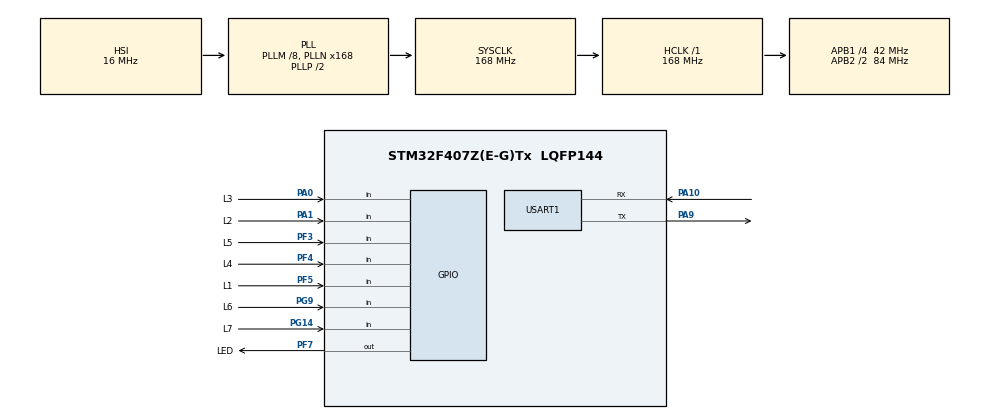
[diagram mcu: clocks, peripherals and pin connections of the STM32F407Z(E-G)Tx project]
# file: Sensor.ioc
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Mcu.Family=STM32F4
Mcu.Name=STM32F407Z(E-G)Tx
Mcu.Package=LQFP144
NVIC.PriorityGroup=NVIC_PRIORITYGROUP_4
NVIC.USART1_IRQn=true\:0\:0\:false\:false\:true\:true\:true\:true
PA0-WKUP.GPIO_Label=L3
PA0-WKUP.Signal=GPIO_Input
PA1.GPIO_Label=L2
PA1.Signal=GPIO_Input
PA10.Mode=Asynchronous
PA10.Signal=USART1_RX
PA13.Mode=Serial_Wire
PA13.Signal=SYS_JTMS-SWDIO
PA14.Mode=Serial_Wire
PA14.Signal=SYS_JTCK-SWCLK
PA9.Mode=Asynchronous
PA9.Signal=USART1_TX
PF3.GPIO_Label=L5
PF3.Signal=GPIO_Input
PF4.GPIO_Label=L4
PF4.Signal=GPIO_Input
PF5.GPIO_Label=L1
PF5.Signal=GPIO_Input
PF7.GPIO_Label=LED
PF7.GPIO_Speed=GPIO_SPEED_FREQ_HIGH
PF7.PinState=GPIO_PIN_RESET
PF7.Signal=GPIO_Output
PG14.GPIO_Label=L7
PG14.Signal=GPIO_Input
PG9.GPIO_Label=L6
PG9.Signal=GPIO_Input
ProjectManager.HeapSize=0x200
ProjectManager.StackSize=0x400
ProjectManager.TargetToolchain=MDK-ARM V5.32
RCC.48MHZClocksFreq_Value=84000000
RCC.AHBFreq_Value=168000000
RCC.APB1CLKDivider=RCC_HCLK_DIV4
RCC.APB1Freq_Value=42000000
RCC.APB1TimFreq_Value=84000000
RCC.APB2CLKDivider=RCC_HCLK_DIV2
RCC.APB2Freq_Value=84000000
RCC.APB2TimFreq_Value=168000000
RCC.CortexFreq_Value=168000000
RCC.HCLKFreq_Value=168000000
RCC.HSE_VALUE=25000000
RCC.HSI_VALUE=16000000
RCC.LSE_VALUE=32768
RCC.PLLM=8
RCC.PLLN=168
RCC.SYSCLKFreq_VALUE=168000000
RCC.SYSCLKSource=RCC_SYSCLKSOURCE_PLLCLK
RCC.VCOOutputFreq_Value=336000000
USART1.VirtualMode=VM_ASYNC
board=custom

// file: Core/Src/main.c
/* USER CODE BEGIN Header */
/**
  ******************************************************************************
  * @file           : main.c
  * @brief          : Main program body
  ******************************************************************************
  * @attention
  *
  * Copyright (c) 2025 STMicroelectronics.
  * All rights reserved.
  *
  * This software is licensed under terms that can be found in the LICENSE file
  * in the root directory of this software component.
  * If no LICENSE file comes with this software, it is provided AS-IS.
  *
  ******************************************************************************
  */
/* USER CODE END Header */
#include "main.h"
#include "usart.h"
#include "gpio.h"

/* USER CODE BEGIN Includes */
#include <stdio.h>
#include <string.h>
/* USER CODE END Includes */

/* USER CODE BEGIN PV */
uint8_t sensor_status = 0; // 用于存储传感器状态的变量
uint8_t prev_status = 0;   // 存储上一次的传感器状态
char uart_buffer[50];      // UART发送缓冲区
/* USER CODE END PV */

void SystemClock_Config(void);

int main(void)
{

  /* MCU Configuration--------------------------------------------------------*/

  /* Reset of all peripherals, Initializes the Flash interface and the Systick. */
  HAL_Init();

  /* Configure the system clock */
  SystemClock_Config();

  /* Initialize all configured peripherals */
  MX_GPIO_Init();
  MX_USART1_UART_Init();

  /* Infinite loop */
  /* USER CODE BEGIN WHILE */
  while (1)
  {
    // 清除之前的状态
    sensor_status = 0;

    // 读取所有传感器状态并记录（低电平有效）
    if(HAL_GPIO_ReadPin(GPIOF, L1_Pin) == GPIO_PIN_RESET)
      sensor_status |= 0x01;  // L1 传感器激活

    if(HAL_GPIO_ReadPin(GPIOA, L2_Pin) == GPIO_PIN_RESET)
      sensor_status |= 0x02;  // L2 传感器激活

    if(HAL_GPIO_ReadPin(GPIOA, L3_Pin) == GPIO_PIN_RESET)
      sensor_status |= 0x04;  // L3 传感器激活

    if(HAL_GPIO_ReadPin(GPIOF, L4_Pin) == GPIO_PIN_RESET)
      sensor_status |= 0x08;  // L4 传感器激活

    if(HAL_GPIO_ReadPin(GPIOF, L5_Pin) == GPIO_PIN_RESET)
      sensor_status |= 0x10;  // L5 传感器激活

    if(HAL_GPIO_ReadPin(GPIOG, L6_Pin) == GPIO_PIN_RESET)
      sensor_status |= 0x20;  // L6 传感器激活

    if(HAL_GPIO_ReadPin(GPIOG, L7_Pin) == GPIO_PIN_RESET)
      sensor_status |= 0x40;  // L7 传感器激活

    // 如果有传感器状态变化且有传感器被激活，发送数据
    if((sensor_status != prev_status) && (sensor_status > 0))
    {
      // 格式化消息
      sprintf(uart_buffer, "Sensors: %c%c%c%c%c%c%c\r\n",
              (sensor_status & 0x01) ? '1' : '0',
              (sensor_status & 0x02) ? '1' : '0',
              (sensor_status & 0x04) ? '1' : '0',
              (sensor_status & 0x08) ? '1' : '0',
              (sensor_status & 0x10) ? '1' : '0',
              (sensor_status & 0x20) ? '1' : '0',
              (sensor_status & 0x40) ? '1' : '0');

      // 通过UART发送数据
      HAL_UART_Transmit(&huart1, (uint8_t*)uart_buffer, strlen(uart_buffer), 100);
    }

    // 更新LED状态 - L1传感器被激活时点亮LED
    if(sensor_status & 0x01){
      HAL_GPIO_WritePin(GPIOF, LED_Pin, GPIO_PIN_SET);
    } else {
      HAL_GPIO_WritePin(GPIOF, LED_Pin, GPIO_PIN_RESET);
    }

    // 保存当前状态
    prev_status = sensor_status;

    // 短暂延时以减少串口发送频率
    HAL_Delay(50);

    /* USER CODE END WHILE */

  }
}

void SystemClock_Config(void)
{
  RCC_OscInitTypeDef RCC_OscInitStruct = {0};
  RCC_ClkInitTypeDef RCC_ClkInitStruct = {0};

  /** Configure the main internal regulator output voltage
  */
  __HAL_RCC_PWR_CLK_ENABLE();
  __HAL_PWR_VOLTAGESCALING_CONFIG(PWR_REGULATOR_VOLTAGE_SCALE1);

  /** Initializes the RCC Oscillators according to the specified parameters
  * in the RCC_OscInitTypeDef structure.
  */
  RCC_OscInitStruct.OscillatorType = RCC_OSCILLATORTYPE_HSI;
  RCC_OscInitStruct.HSIState = RCC_HSI_ON;
  RCC_OscInitStruct.HSICalibrationValue = RCC_HSICALIBRATION_DEFAULT;
  RCC_OscInitStruct.PLL.PLLState = RCC_PLL_ON;
  RCC_OscInitStruct.PLL.PLLSource = RCC_PLLSOURCE_HSI;
  RCC_OscInitStruct.PLL.PLLM = 8;
  RCC_OscInitStruct.PLL.PLLN = 168;
  RCC_OscInitStruct.PLL.PLLP = RCC_PLLP_DIV2;
  RCC_OscInitStruct.PLL.PLLQ = 4;
  if (HAL_RCC_OscConfig(&RCC_OscInitStruct) != HAL_OK)
  {
    Error_Handler();
  }

  /** Initializes the CPU, AHB and APB buses clocks
  */
  RCC_ClkInitStruct.ClockType = RCC_CLOCKTYPE_HCLK|RCC_CLOCKTYPE_SYSCLK
                              |RCC_CLOCKTYPE_PCLK1|RCC_CLOCKTYPE_PCLK2;
  RCC_ClkInitStruct.SYSCLKSource = RCC_SYSCLKSOURCE_PLLCLK;
  RCC_ClkInitStruct.AHBCLKDivider = RCC_SYSCLK_DIV1;
  RCC_ClkInitStruct.APB1CLKDivider = RCC_HCLK_DIV4;
  RCC_ClkInitStruct.APB2CLKDivider = RCC_HCLK_DIV2;

  if (HAL_RCC_ClockConfig(&RCC_ClkInitStruct, FLASH_LATENCY_5) != HAL_OK)
  {
    Error_Handler();
  }
}

void Error_Handler(void)
{
  /* USER CODE BEGIN Error_Handler_Debug */
  /* User can add his own implementation to report the HAL error return state */
  __disable_irq();
  while (1)
  {
    if(HAL_GPIO_ReadPin(GPIOF, L1_Pin)){
      HAL_GPIO_WritePin(GPIOA, GPIO_PIN_5, GPIO_PIN_SET);
    }
  }
  /* USER CODE END Error_Handler_Debug */
}
